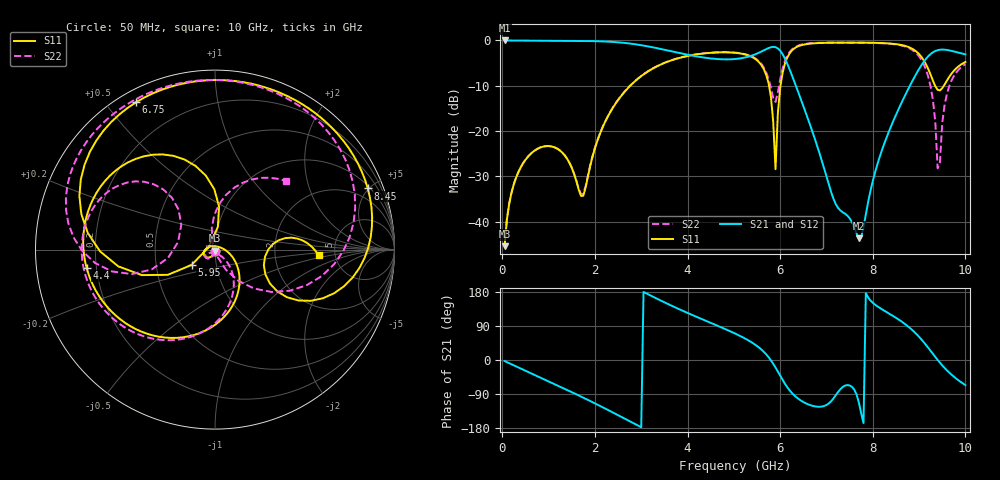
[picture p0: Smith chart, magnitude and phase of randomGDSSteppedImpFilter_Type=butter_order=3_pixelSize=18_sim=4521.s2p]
! freq	dB(S11)	phase(S11)	dB(S12)	phase(S12)
!  dB(S21)	phase(S21)	dB(S22)	phase(S22)
!S-par simulation data
#  GHz  S  DB  R 50
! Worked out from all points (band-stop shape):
!   200 points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, 50 MHz to 10 GHz, reference 50 ohm
!   highest |S21| = -0.01 dB at 50 MHz (marker M1); lowest = -43.7 dB at 7.7 GHz (marker M2)
!   |S21| within 3 dB of the highest: start of sweep to 3.933 GHz; 9.248 GHz to 9.973 GHz (724.8 MHz wide, 7.54 % of centre) (the widest 2 of 3)
!   lowest |S11| = -45.4 dB at 50 MHz (marker M3), VSWR 1.01, Z = 50 - j0.539 ohm
!   |S11| at or under -10 dB: start of sweep to 2.761 GHz; 5.759 GHz to 6.008 GHz (248.7 MHz wide, 4.23 % of centre); 9.346 GHz to 9.534 GHz (188.1 MHz wide, 1.99 % of centre)
!   |S22| runs from -45.4 to -0.5 dB; largest |S21 - S12| = 0
!   S11 on the Smith chart (normalised r, x): 50 MHz: 1.00, -0.01; 4.4 GHz: 0.16, -0.07; 5.95 GHz: 0.76, -0.13; 6.75 GHz: 0.05, +0.60; 8.45 GHz: 1.15, +4.93; 10 GHz: 3.71, -0.35
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0.05  -45.37 -89.9  -0.01 -2.9  -0.01 -2.9  -45.36 -89.3
0.25  -31.68 -104.8  -0.03 -14.1  -0.03 -14.1  -31.67 -102.1
0.7  -24.28 -133.9  -0.07 -39.3  -0.07 -39.3  -24.27 -125.4
1.75  -34.24 68.0  -0.12 -99.4  -0.12 -99.4  -33.79 -88.3
2.35  -15.48 -40.0  -0.30 -136.1  -0.30 -136.1  -15.43 -54.5
3.4  -5.41 -113.5  -1.83 158.2  -1.83 158.2  -5.38 -111.6
4.4  -2.82 -171.9  -3.85 103.2  -3.85 103.2  -2.79 -161.7
5.05  -2.76 151.4  -4.08 68.5  -4.08 68.5  -2.71 167.6
5.7  -7.64 97.0  -1.91 14.7  -1.91 14.7  -7.08 130.7
5.9  -28.40 161.1  -1.49 -19.9  -1.49 -19.9  -13.56 168.3
5.95  -16.14 -146.8  -1.75 -30.5  -1.75 -30.5  -11.50 -169.9
6.25  -2.27 165.1  -7.57 -86.5  -7.57 -86.5  -2.03 175.0
6.7  -0.66 121.7  -20.21 -121.0  -20.21 -121.0  -0.59 139.8
6.75  -0.62 118.2  -21.73 -122.4  -21.73 -122.4  -0.56 136.9
7.7  -0.49 64.5  -43.66 -112.5  -43.66 -112.5  -0.49 89.5
8.35  -0.67 28.1  -20.04 122.8  -20.04 122.8  -0.72 53.1
8.45  -0.75 21.8  -17.60 115.3  -17.60 115.3  -0.83 46.2
9.15  -5.27 -31.3  -4.05 39.6  -4.05 39.6  -6.47 -28.9
9.3  -8.89 -31.7  -2.61 15.9  -2.61 15.9  -13.24 -53.1
9.4  -10.89 -17.6  -2.15 0.3  -2.15 0.3  -28.20 -72.3
9.6  -8.87 8.4  -2.10 -27.2  -2.10 -27.2  -11.83 84.6
10  -4.76 -3.1  -3.07 -66.3  -3.07 -66.3  -5.20 44.2
